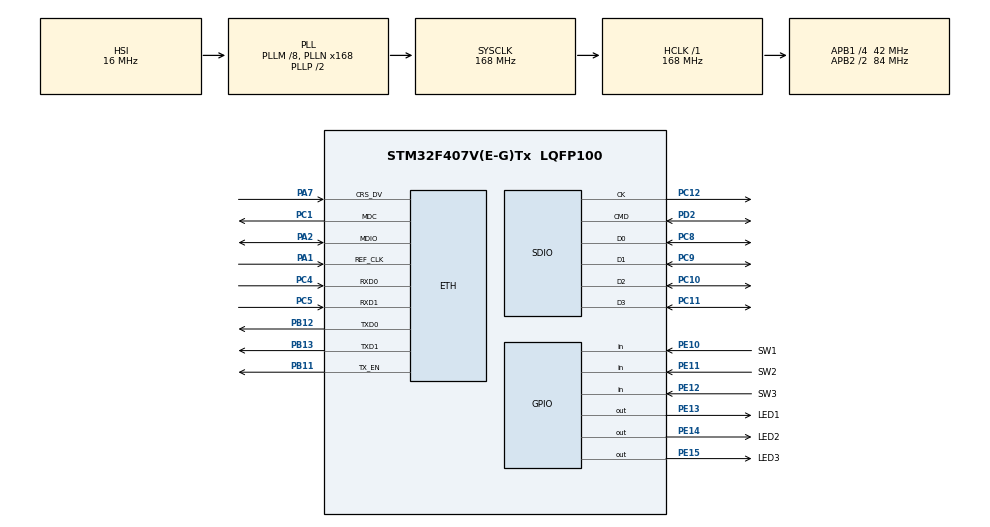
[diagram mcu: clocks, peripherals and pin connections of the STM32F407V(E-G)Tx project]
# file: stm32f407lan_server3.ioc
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Dma.Request0=SDIO_RX
Dma.Request1=SDIO_TX
Dma.SDIO_RX.0.Direction=DMA_PERIPH_TO_MEMORY
Dma.SDIO_RX.0.FIFOMode=DMA_FIFOMODE_ENABLE
Dma.SDIO_RX.0.FIFOThreshold=DMA_FIFO_THRESHOLD_FULL
Dma.SDIO_RX.0.Instance=DMA2_Stream3
Dma.SDIO_RX.0.MemBurst=DMA_MBURST_INC4
Dma.SDIO_RX.0.MemDataAlignment=DMA_MDATAALIGN_WORD
Dma.SDIO_RX.0.MemInc=DMA_MINC_ENABLE
Dma.SDIO_RX.0.Mode=DMA_PFCTRL
Dma.SDIO_RX.0.PeriphBurst=DMA_PBURST_INC4
Dma.SDIO_RX.0.PeriphDataAlignment=DMA_PDATAALIGN_WORD
Dma.SDIO_RX.0.PeriphInc=DMA_PINC_DISABLE
Dma.SDIO_RX.0.Priority=DMA_PRIORITY_LOW
Dma.SDIO_TX.1.Direction=DMA_MEMORY_TO_PERIPH
Dma.SDIO_TX.1.FIFOMode=DMA_FIFOMODE_ENABLE
Dma.SDIO_TX.1.FIFOThreshold=DMA_FIFO_THRESHOLD_FULL
Dma.SDIO_TX.1.Instance=DMA2_Stream6
Dma.SDIO_TX.1.MemBurst=DMA_MBURST_INC4
Dma.SDIO_TX.1.MemDataAlignment=DMA_MDATAALIGN_WORD
Dma.SDIO_TX.1.MemInc=DMA_MINC_ENABLE
Dma.SDIO_TX.1.Mode=DMA_PFCTRL
Dma.SDIO_TX.1.PeriphBurst=DMA_PBURST_INC4
Dma.SDIO_TX.1.PeriphDataAlignment=DMA_PDATAALIGN_WORD
Dma.SDIO_TX.1.PeriphInc=DMA_PINC_DISABLE
Dma.SDIO_TX.1.Priority=DMA_PRIORITY_LOW
ETH.MACAddr=00\:80\:E1\:00\:00\:01
ETH.MediaInterface=ETH_MEDIA_INTERFACE_RMII
ETH.PHY_Name_RMII=DP83848_PHY_ADDRESS
FATFS._MAX_SS=4096
FATFS._USE_LFN=2
FREERTOS.Tasks01=defaultTask,24,128,StartDefaultTask,Default,NULL,Dynamic,NULL,NULL
FREERTOS.configLIBRARY_MAX_SYSCALL_INTERRUPT_PRIORITY=2
FREERTOS.configTOTAL_HEAP_SIZE=40000
LWIP.GATEWAY_ADDRESS=192.168.000.001
LWIP.IP_ADDRESS=192.168.000.178
LWIP.LWIP_DHCP=0
LWIP.NETMASK_ADDRESS=255.255.255.000
LWIP.Version=v2.1.2_Cube
Mcu.Family=STM32F4
Mcu.Name=STM32F407V(E-G)Tx
Mcu.Package=LQFP100
NVIC.DMA2_Stream3_IRQn=true\:2\:0\:false\:false\:true\:true\:false\:true\:true
NVIC.DMA2_Stream6_IRQn=true\:2\:0\:false\:false\:true\:true\:false\:true\:true
NVIC.ETH_IRQn=true\:2\:0\:false\:false\:true\:true\:true\:true\:true
NVIC.PriorityGroup=NVIC_PRIORITYGROUP_4
NVIC.SDIO_IRQn=true\:2\:0\:false\:false\:true\:true\:true\:true\:true
PA1.Mode=RMII
PA1.Signal=ETH_REF_CLK
PA13.Mode=Trace_Asynchronous_SW
PA13.Signal=SYS_JTMS-SWDIO
PA14.Mode=Trace_Asynchronous_SW
PA14.Signal=SYS_JTCK-SWCLK
PA2.Mode=RMII
PA2.Signal=ETH_MDIO
PA7.Mode=RMII
PA7.Signal=ETH_CRS_DV
PB11.Mode=RMII
PB11.Signal=ETH_TX_EN
PB12.Mode=RMII
PB12.Signal=ETH_TXD0
PB13.Mode=RMII
PB13.Signal=ETH_TXD1
PB3.Mode=Trace_Asynchronous_SW
PB3.Signal=SYS_JTDO-SWO
PC1.Mode=RMII
PC1.Signal=ETH_MDC
PC10.GPIO_PuPd=GPIO_PULLUP
PC10.Mode=SD_4_bits_Wide_bus
PC10.Signal=SDIO_D2
PC11.GPIO_PuPd=GPIO_PULLUP
PC11.Mode=SD_4_bits_Wide_bus
PC11.Signal=SDIO_D3
PC12.GPIO_PuPd=GPIO_PULLUP
PC12.Mode=SD_4_bits_Wide_bus
PC12.Signal=SDIO_CK
PC4.Mode=RMII
PC4.Signal=ETH_RXD0
PC5.Mode=RMII
PC5.Signal=ETH_RXD1
PC8.GPIO_PuPd=GPIO_PULLUP
PC8.Mode=SD_4_bits_Wide_bus
PC8.Signal=SDIO_D0
PC9.GPIO_PuPd=GPIO_PULLUP
PC9.Mode=SD_4_bits_Wide_bus
PC9.Signal=SDIO_D1
PD2.GPIO_PuPd=GPIO_PULLUP
PD2.Mode=SD_4_bits_Wide_bus
PD2.Signal=SDIO_CMD
PE10.GPIO_Label=SW1
PE10.Signal=GPIO_Input
PE11.GPIO_Label=SW2
PE11.Signal=GPIO_Input
PE12.GPIO_Label=SW3
PE12.Signal=GPIO_Input
PE13.GPIO_Label=LED1
PE13.Signal=GPIO_Output
PE14.GPIO_Label=LED2
PE14.Signal=GPIO_Output
PE15.GPIO_Label=LED3
PE15.Signal=GPIO_Output
PH0-OSC_IN.Mode=HSE-External-Oscillator
PH0-OSC_IN.Signal=RCC_OSC_IN
PH1-OSC_OUT.Mode=HSE-External-Oscillator
PH1-OSC_OUT.Signal=RCC_OSC_OUT
ProjectManager.HeapSize=0x2000
ProjectManager.StackSize=0x4000
ProjectManager.TargetToolchain=STM32CubeIDE
RCC.48MHZClocksFreq_Value=42000000
RCC.AHBFreq_Value=168000000
RCC.APB1CLKDivider=RCC_HCLK_DIV4
RCC.APB1Freq_Value=42000000
RCC.APB1TimFreq_Value=84000000
RCC.APB2CLKDivider=RCC_HCLK_DIV2
RCC.APB2Freq_Value=84000000
RCC.APB2TimFreq_Value=168000000
RCC.CortexFreq_Value=168000000
RCC.HCLKFreq_Value=168000000
RCC.HSE_VALUE=25000000
RCC.HSI_VALUE=16000000
RCC.LSE_VALUE=32768
RCC.PLLM=8
RCC.PLLN=168
RCC.PLLQ=8
RCC.SYSCLKFreq_VALUE=168000000
RCC.SYSCLKSource=RCC_SYSCLKSOURCE_PLLCLK
RCC.VCOOutputFreq_Value=336000000
SDIO.ClockDiv=4
VP_FATFS_VS_SDIO.Mode=SDIO
VP_FREERTOS_VS_CMSIS_V2.Mode=CMSIS_V2
VP_LWIP_VS_Enabled.Mode=Enabled
board=custom

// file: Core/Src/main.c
/* USER CODE BEGIN Header */
/**
  ******************************************************************************
  * @file           : main.c
  * @brief          : Main program body
  ******************************************************************************
  * @attention
  *
  * <h2><center>&copy; Copyright (c) 2022 STMicroelectronics.
  * All rights reserved.</center></h2>
  *
  * This software component is licensed by ST under BSD 3-Clause license,
  * the "License"; You may not use this file except in compliance with the
  * License. You may obtain a copy of the License at:
  *                        opensource.org/licenses/BSD-3-Clause
  *
  ******************************************************************************
  */
/* USER CODE END Header */
#include "main.h"
#include "cmsis_os.h"
#include "fatfs.h"
#include "lwip.h"

SD_HandleTypeDef hsd;
DMA_HandleTypeDef hdma_sdio_rx;
DMA_HandleTypeDef hdma_sdio_tx;

/* Definitions for defaultTask */
osThreadId_t defaultTaskHandle;
const osThreadAttr_t defaultTask_attributes = {
  .name = "defaultTask",
  .stack_size = 128 * 4,
  .priority = (osPriority_t) osPriorityNormal,
};

void SystemClock_Config(void);
static void MX_GPIO_Init(void);
static void MX_DMA_Init(void);
static void MX_SDIO_SD_Init(void);
void StartDefaultTask(void *argument);

/* USER CODE BEGIN 0 */

static FATFS Fs;   /* Work area (filesystem object) for logical drive */
FRESULT fresult;   /* FatFs return code */

// Вывод в SWO
int __io_putchar(int ch)
{
 // Write character to ITM ch.0
 ITM_SendChar(ch);
 return(ch);
}

void sd_up()
{
	MX_SDIO_SD_Init();
	MX_FATFS_Init();
}

/* USER CODE END 0 */

int main(void)
{

  /* MCU Configuration--------------------------------------------------------*/

  /* Reset of all peripherals, Initializes the Flash interface and the Systick. */
  HAL_Init();

  /* Configure the system clock */
  SystemClock_Config();

  /* Initialize all configured peripherals */
  MX_GPIO_Init();
  MX_DMA_Init();
  MX_SDIO_SD_Init();
  MX_FATFS_Init();
  /* USER CODE BEGIN 2 */
  printf("Init ok \n");
  // Погасить все светодиоды
  HAL_GPIO_WritePin(LED1_GPIO_Port, LED1_Pin, GPIO_PIN_SET); // Соединение
  HAL_GPIO_WritePin(LED2_GPIO_Port, LED2_Pin, GPIO_PIN_SET); // Блинк 1 сек - система не упала
  HAL_GPIO_WritePin(LED3_GPIO_Port, LED3_Pin, GPIO_PIN_SET); // Ошибка SD - зажигается и не сбрасывается
  printf("Leds set OFF \n");
/*  while (1)
    {
	  HAL_GPIO_TogglePin(LED1_GPIO_Port, LED1_Pin);
	  HAL_Delay(500);
    }
*/

  /* USER CODE END 2 */

  /* Init scheduler */
  osKernelInitialize();

  /* Create the thread(s) */
  /* creation of defaultTask */
  defaultTaskHandle = osThreadNew(StartDefaultTask, NULL, &defaultTask_attributes);

  /* Start scheduler */
  osKernelStart();

  /* We should never get here as control is now taken by the scheduler */
  /* Infinite loop */
  while (1)
  {

    /* USER CODE BEGIN 3 */
	//  MX_LWIP_Process();
	  HAL_GPIO_TogglePin(LED1_GPIO_Port, LED1_Pin);
  }
  /* USER CODE END 3 */
}

void SystemClock_Config(void)
{
  RCC_OscInitTypeDef RCC_OscInitStruct = {0};
  RCC_ClkInitTypeDef RCC_ClkInitStruct = {0};

  /** Configure the main internal regulator output voltage
  */
  __HAL_RCC_PWR_CLK_ENABLE();
  __HAL_PWR_VOLTAGESCALING_CONFIG(PWR_REGULATOR_VOLTAGE_SCALE1);
  /** Initializes the RCC Oscillators according to the specified parameters
  * in the RCC_OscInitTypeDef structure.
  */
  RCC_OscInitStruct.OscillatorType = RCC_OSCILLATORTYPE_HSI;
  RCC_OscInitStruct.HSIState = RCC_HSI_ON;
  RCC_OscInitStruct.HSICalibrationValue = RCC_HSICALIBRATION_DEFAULT;
  RCC_OscInitStruct.PLL.PLLState = RCC_PLL_ON;
  RCC_OscInitStruct.PLL.PLLSource = RCC_PLLSOURCE_HSI;
  RCC_OscInitStruct.PLL.PLLM = 8;
  RCC_OscInitStruct.PLL.PLLN = 168;
  RCC_OscInitStruct.PLL.PLLP = RCC_PLLP_DIV2;
  RCC_OscInitStruct.PLL.PLLQ = 8;
  if (HAL_RCC_OscConfig(&RCC_OscInitStruct) != HAL_OK)
  {
    Error_Handler();
  }
  /** Initializes the CPU, AHB and APB buses clocks
  */
  RCC_ClkInitStruct.ClockType = RCC_CLOCKTYPE_HCLK|RCC_CLOCKTYPE_SYSCLK
                              |RCC_CLOCKTYPE_PCLK1|RCC_CLOCKTYPE_PCLK2;
  RCC_ClkInitStruct.SYSCLKSource = RCC_SYSCLKSOURCE_PLLCLK;
  RCC_ClkInitStruct.AHBCLKDivider = RCC_SYSCLK_DIV1;
  RCC_ClkInitStruct.APB1CLKDivider = RCC_HCLK_DIV4;
  RCC_ClkInitStruct.APB2CLKDivider = RCC_HCLK_DIV2;

  if (HAL_RCC_ClockConfig(&RCC_ClkInitStruct, FLASH_LATENCY_5) != HAL_OK)
  {
    Error_Handler();
  }
}

static void MX_SDIO_SD_Init(void)
{

  hsd.Instance = SDIO;
  hsd.Init.ClockEdge = SDIO_CLOCK_EDGE_RISING;
  hsd.Init.ClockBypass = SDIO_CLOCK_BYPASS_DISABLE;
  hsd.Init.ClockPowerSave = SDIO_CLOCK_POWER_SAVE_DISABLE;
  hsd.Init.BusWide = SDIO_BUS_WIDE_1B;
  hsd.Init.HardwareFlowControl = SDIO_HARDWARE_FLOW_CONTROL_DISABLE;
  hsd.Init.ClockDiv = 4;

}

static void MX_DMA_Init(void)
{

  /* DMA controller clock enable */
  __HAL_RCC_DMA2_CLK_ENABLE();

  /* DMA interrupt init */
  /* DMA2_Stream3_IRQn interrupt configuration */
  HAL_NVIC_SetPriority(DMA2_Stream3_IRQn, 2, 0);
  HAL_NVIC_EnableIRQ(DMA2_Stream3_IRQn);
  /* DMA2_Stream6_IRQn interrupt configuration */
  HAL_NVIC_SetPriority(DMA2_Stream6_IRQn, 2, 0);
  HAL_NVIC_EnableIRQ(DMA2_Stream6_IRQn);

}

static void MX_GPIO_Init(void)
{
  GPIO_InitTypeDef GPIO_InitStruct = {0};

  /* GPIO Ports Clock Enable */
  __HAL_RCC_GPIOH_CLK_ENABLE();
  __HAL_RCC_GPIOC_CLK_ENABLE();
  __HAL_RCC_GPIOA_CLK_ENABLE();
  __HAL_RCC_GPIOE_CLK_ENABLE();
  __HAL_RCC_GPIOB_CLK_ENABLE();
  __HAL_RCC_GPIOD_CLK_ENABLE();

  /*Configure GPIO pin Output Level */
  HAL_GPIO_WritePin(GPIOE, LED1_Pin|LED2_Pin|LED3_Pin, GPIO_PIN_RESET);

  /*Configure GPIO pins : SW1_Pin SW2_Pin SW3_Pin */
  GPIO_InitStruct.Pin = SW1_Pin|SW2_Pin|SW3_Pin;
  GPIO_InitStruct.Mode = GPIO_MODE_INPUT;
  GPIO_InitStruct.Pull = GPIO_NOPULL;
  HAL_GPIO_Init(GPIOE, &GPIO_InitStruct);

  /*Configure GPIO pins : LED1_Pin LED2_Pin LED3_Pin */
  GPIO_InitStruct.Pin = LED1_Pin|LED2_Pin|LED3_Pin;
  GPIO_InitStruct.Mode = GPIO_MODE_OUTPUT_PP;
  GPIO_InitStruct.Pull = GPIO_NOPULL;
  GPIO_InitStruct.Speed = GPIO_SPEED_FREQ_LOW;
  HAL_GPIO_Init(GPIOE, &GPIO_InitStruct);

}

void StartDefaultTask(void *argument)
{
  /* init code for LWIP */
  MX_LWIP_Init();
  /* USER CODE BEGIN 5 */
  printf("MX_LWIP_Init ok \n");

 // fresult = f_mount(&Fs,"", 1);  // Монтировать карту
 // if (fresult != FR_OK) printf("f_mount err: %d \n",fresult); else printf("f_mount Ok\n");

   http_server_init();
   printf("http_server_init ok \n");

  /* Infinite loop */
  for(;;)
  {
    osDelay(100);
  }
  /* USER CODE END 5 */
}

void Error_Handler(void)
{
  __disable_irq();
  while (1)
  {
  }
}

/************************ (C) COPYRIGHT STMicroelectronics *****END OF FILE****/
